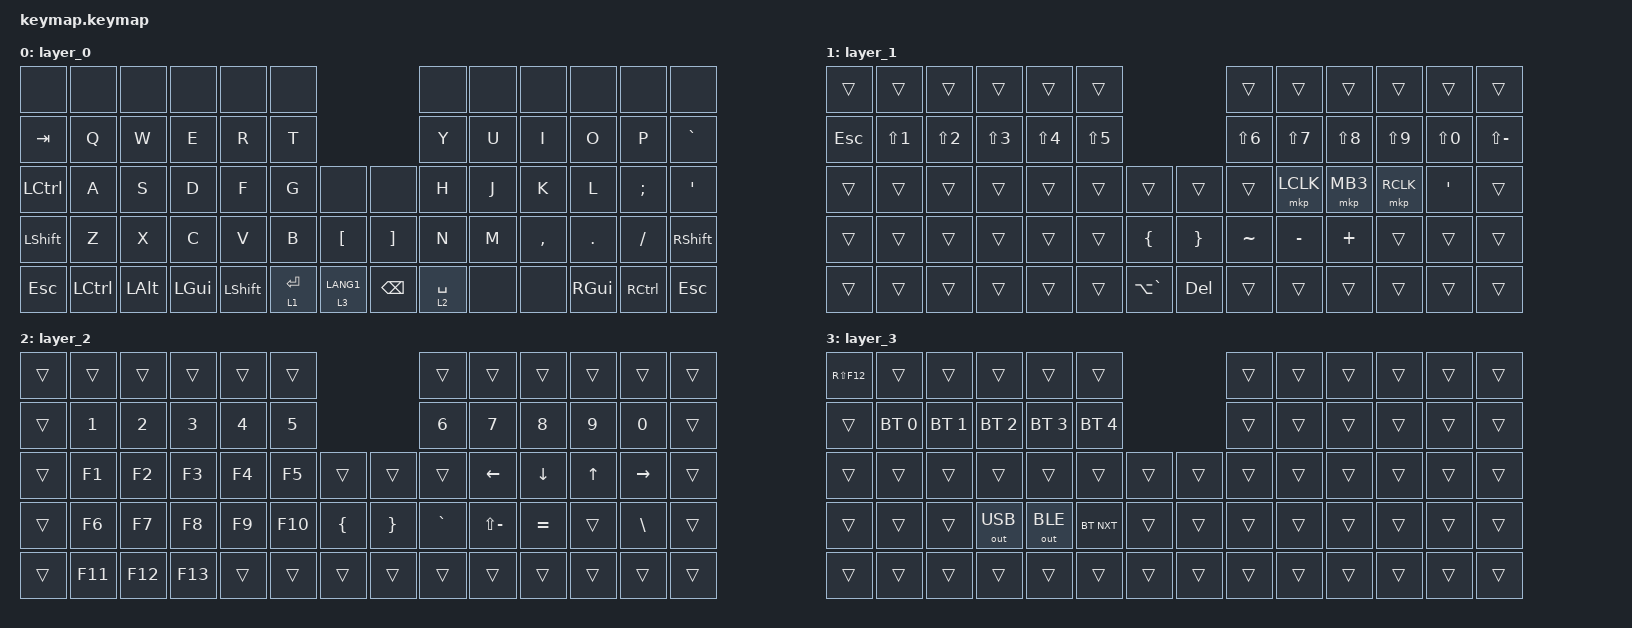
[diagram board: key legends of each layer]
#include <behaviors.dtsi>
#include <dt-bindings/zmk/bt.h>
#include <dt-bindings/zmk/keys.h>
#include <dt-bindings/zmk/outputs.h>
#include <dt-bindings/zmk/pointing.h>

/ {
    combos {
        compatible = "zmk,combos";

        bt_clear {
            bindings = <&bt BT_CLR>;
            key-positions = <28 29>;
            layers = <3>;
        };
    };

    keymap {
        compatible = "zmk,keymap";

        layer_0 {
            bindings = <
&none      &none      &none         &none         &none           &none                                             &none        &none  &none      &none     &none      &none
&kp TAB    &kp Q      &kp W         &kp E         &kp R           &kp T                                             &kp Y        &kp U  &kp I      &kp O     &kp P      &kp GRAVE
&kp LCTRL  &kp A      &kp S         &kp D         &kp F           &kp G        &none             &none              &kp H        &kp J  &kp K      &kp L     &kp SEMI   &kp SQT
&kp LSHFT  &kp Z      &kp X         &kp C         &kp V           &kp B        &kp LEFT_BRACKET  &kp RIGHT_BRACKET  &kp N        &kp M  &kp COMMA  &kp DOT   &kp SLASH  &kp RSHFT
&kp ESC    &kp LCTRL  &kp LEFT_ALT  &kp LEFT_GUI  &kp LEFT_SHIFT  &lt 1 ENTER  &lt 3 LANG1       &kp BACKSPACE      &lt 2 SPACE  &none  &none      &kp RGUI  &kp RCTRL  &kp ESC
            >;
        };

        layer_1 {
            bindings = <
&trans   &trans            &trans            &trans            &trans            &trans                                     &trans            &trans      &trans      &trans      &trans      &trans
&kp ESC  &kp LS(NUMBER_1)  &kp LS(NUMBER_2)  &kp LS(NUMBER_3)  &kp LS(NUMBER_4)  &kp LS(NUMBER_5)                           &kp LS(NUMBER_6)  &kp LS(N7)  &kp LS(N8)  &kp LS(N9)  &kp LS(N0)  &kp LS(MINUS)
&trans   &trans            &trans            &trans            &trans            &trans            &trans         &trans    &trans            &mkp LCLK   &mkp MB3    &mkp RCLK   &kp SQT     &trans
&trans   &trans            &trans            &trans            &trans            &trans            &kp LBRC       &kp RBRC  &kp TILDE         &kp MINUS   &kp PLUS    &trans      &trans      &trans
&trans   &trans            &trans            &trans            &trans            &trans            &kp LA(GRAVE)  &kp DEL   &trans            &trans      &trans      &trans      &trans      &trans
            >;
        };

        layer_2 {
            bindings = <
&trans  &trans        &trans        &trans   &trans  &trans                       &trans     &trans         &trans     &trans  &trans         &trans
&trans  &kp NUMBER_1  &kp NUMBER_2  &kp N3   &kp N4  &kp N5                       &kp N6     &kp N7         &kp N8     &kp N9  &kp N0         &trans
&trans  &kp F1        &kp F2        &kp F3   &kp F4  &kp F5   &trans    &trans    &trans     &kp LEFT       &kp DOWN   &kp UP  &kp RIGHT      &trans
&trans  &kp F6        &kp F7        &kp F8   &kp F9  &kp F10  &kp LBRC  &kp RBRC  &kp GRAVE  &kp LS(MINUS)  &kp EQUAL  &trans  &kp BACKSLASH  &trans
&trans  &kp F11       &kp F12       &kp F13  &trans  &trans   &trans    &trans    &trans     &trans         &trans     &trans  &trans         &trans
            >;
        };

        layer_3 {
            bindings = <
&kp RS(F12)  &trans        &trans        &trans        &trans        &trans                        &trans  &trans  &trans  &trans  &trans  &trans
&trans       &bt BT_SEL 0  &bt BT_SEL 1  &bt BT_SEL 2  &bt BT_SEL 3  &bt BT_SEL 4                  &trans  &trans  &trans  &trans  &trans  &trans
&trans       &trans        &trans        &trans        &trans        &trans        &trans  &trans  &trans  &trans  &trans  &trans  &trans  &trans
&trans       &trans        &trans        &out OUT_USB  &out OUT_BLE  &bt BT_NXT    &trans  &trans  &trans  &trans  &trans  &trans  &trans  &trans
&trans       &trans        &trans        &trans        &trans        &trans        &trans  &trans  &trans  &trans  &trans  &trans  &trans  &trans
            >;
        };
    };
};
